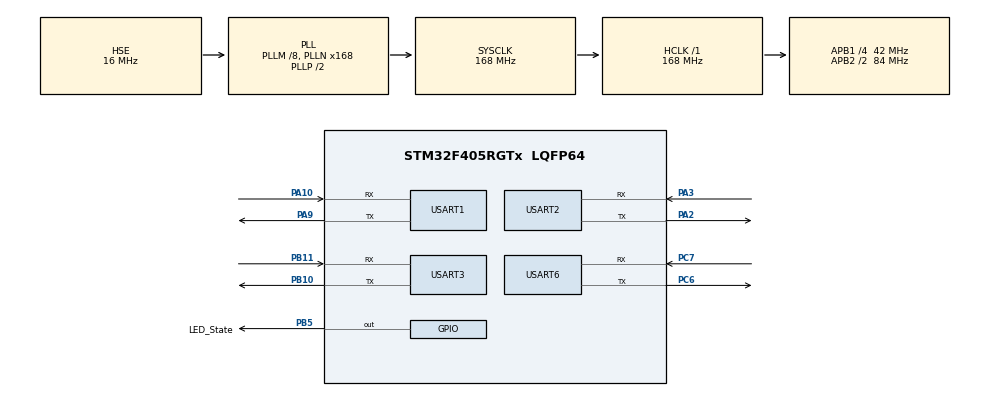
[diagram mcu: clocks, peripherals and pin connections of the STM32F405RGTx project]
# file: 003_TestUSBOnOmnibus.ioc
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Dma.Request0=USART1_TX
Dma.USART1_TX.0.Direction=DMA_MEMORY_TO_PERIPH
Dma.USART1_TX.0.FIFOMode=DMA_FIFOMODE_DISABLE
Dma.USART1_TX.0.Instance=DMA2_Stream7
Dma.USART1_TX.0.MemDataAlignment=DMA_MDATAALIGN_BYTE
Dma.USART1_TX.0.MemInc=DMA_MINC_ENABLE
Dma.USART1_TX.0.Mode=DMA_NORMAL
Dma.USART1_TX.0.PeriphDataAlignment=DMA_PDATAALIGN_BYTE
Dma.USART1_TX.0.PeriphInc=DMA_PINC_DISABLE
Dma.USART1_TX.0.Priority=DMA_PRIORITY_LOW
Mcu.Family=STM32F4
Mcu.Name=STM32F405RGTx
Mcu.Package=LQFP64
NVIC.DMA2_Stream7_IRQn=true\:0\:0\:false\:false\:true\:false\:true\:true
NVIC.PriorityGroup=NVIC_PRIORITYGROUP_4
NVIC.USART1_IRQn=true\:0\:0\:false\:false\:true\:true\:true\:true
PA10.Mode=Asynchronous
PA10.Signal=USART1_RX
PA13.Mode=Serial_Wire
PA13.Signal=SYS_JTMS-SWDIO
PA14.Mode=Serial_Wire
PA14.Signal=SYS_JTCK-SWCLK
PA2.Mode=Asynchronous
PA2.Signal=USART2_TX
PA3.Mode=Asynchronous
PA3.Signal=USART2_RX
PA9.Mode=Asynchronous
PA9.Signal=USART1_TX
PB10.Mode=Asynchronous
PB10.Signal=USART3_TX
PB11.Mode=Asynchronous
PB11.Signal=USART3_RX
PB5.GPIO_Label=LED_State
PB5.Signal=GPIO_Output
PC14-OSC32_IN.Mode=LSE-External-Oscillator
PC14-OSC32_IN.Signal=RCC_OSC32_IN
PC15-OSC32_OUT.Mode=LSE-External-Oscillator
PC15-OSC32_OUT.Signal=RCC_OSC32_OUT
PC6.Mode=Asynchronous
PC6.Signal=USART6_TX
PC7.Mode=Asynchronous
PC7.Signal=USART6_RX
PH0-OSC_IN.Mode=HSE-External-Oscillator
PH0-OSC_IN.Signal=RCC_OSC_IN
PH1-OSC_OUT.Mode=HSE-External-Oscillator
PH1-OSC_OUT.Signal=RCC_OSC_OUT
ProjectManager.HeapSize=0x200
ProjectManager.StackSize=0x400
ProjectManager.TargetToolchain=STM32CubeIDE
RCC.48MHZClocksFreq_Value=48000000
RCC.AHBFreq_Value=168000000
RCC.APB1CLKDivider=RCC_HCLK_DIV4
RCC.APB1Freq_Value=42000000
RCC.APB1TimFreq_Value=84000000
RCC.APB2CLKDivider=RCC_HCLK_DIV2
RCC.APB2Freq_Value=84000000
RCC.APB2TimFreq_Value=168000000
RCC.CortexFreq_Value=168000000
RCC.HCLKFreq_Value=168000000
RCC.HSE_VALUE=16000000
RCC.HSI_VALUE=16000000
RCC.PLLM=8
RCC.PLLN=168
RCC.PLLQ=7
RCC.PLLSourceVirtual=RCC_PLLSOURCE_HSE
RCC.SYSCLKFreq_VALUE=168000000
RCC.SYSCLKSource=RCC_SYSCLKSOURCE_PLLCLK
RCC.VCOOutputFreq_Value=336000000
USART1.VirtualMode=VM_ASYNC
USART2.VirtualMode=VM_ASYNC
USART3.VirtualMode=VM_ASYNC
USART6.VirtualMode=VM_ASYNC
board=custom

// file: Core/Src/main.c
/* USER CODE BEGIN Header */
/**
  ******************************************************************************
  * @file           : main.c
  * @brief          : Main program body
  ******************************************************************************
  * @attention
  *
  * Copyright (c) 2022 STMicroelectronics.
  * All rights reserved.
  *
  * This software is licensed under terms that can be found in the LICENSE file
  * in the root directory of this software component.
  * If no LICENSE file comes with this software, it is provided AS-IS.
  *
  ******************************************************************************
  */
/* USER CODE END Header */
#include "main.h"

/* USER CODE BEGIN Includes */
#include "usbd_cdc_if.h"
#include "string.h"
/* USER CODE END Includes */

UART_HandleTypeDef huart1;
UART_HandleTypeDef huart2;
UART_HandleTypeDef huart3;
UART_HandleTypeDef huart6;
DMA_HandleTypeDef hdma_usart1_tx;

void SystemClock_Config(void);
static void MX_GPIO_Init(void);
static void MX_DMA_Init(void);
static void MX_USART1_UART_Init(void);
static void MX_USART2_UART_Init(void);
static void MX_USART3_UART_Init(void);
static void MX_USART6_UART_Init(void);
/* USER CODE BEGIN PFP */
void LED_blink(uint32_t times);
/* USER CODE END PFP */

/* USER CODE BEGIN 0 */
void LED_blink(uint32_t times)
{
	HAL_GPIO_WritePin(LED_State_GPIO_Port, LED_State_Pin, GPIO_PIN_SET);
	for(int i = 0; i < times; i++){
		HAL_GPIO_TogglePin(LED_State_GPIO_Port, LED_State_Pin);
		HAL_Delay(300);
		HAL_GPIO_TogglePin(LED_State_GPIO_Port, LED_State_Pin);
		HAL_Delay(300);
	}
}
/* USER CODE END 0 */

int main(void)
{

  /* MCU Configuration--------------------------------------------------------*/

  /* Reset of all peripherals, Initializes the Flash interface and the Systick. */
  HAL_Init();

  /* Configure the system clock */
  SystemClock_Config();

  /* Initialize all configured peripherals */
  MX_GPIO_Init();
  MX_DMA_Init();
  MX_USART1_UART_Init();
  MX_USART2_UART_Init();
  MX_USART3_UART_Init();
  MX_USART6_UART_Init();

  /* Infinite loop */
  /* USER CODE BEGIN WHILE */
  while (1)
  {
	  char *Buf = "Hello\n";
	  uint8_t result = CDC_Transmit_FS((uint8_t *)Buf, strlen(Buf));
	  // OK else USBD_FAIL or USBD_BUSY
	  if(result == USBD_OK){
		  LED_blink(1);
	  }else if(result == USBD_FAIL){
		  LED_blink(2);
	  }else if (result == USBD_BUSY){
		  LED_blink(3);
	  }
	  HAL_Delay(3000);
    /* USER CODE END WHILE */

  }
}

void SystemClock_Config(void)
{
  RCC_OscInitTypeDef RCC_OscInitStruct = {0};
  RCC_ClkInitTypeDef RCC_ClkInitStruct = {0};

  /** Configure the main internal regulator output voltage
  */
  __HAL_RCC_PWR_CLK_ENABLE();
  __HAL_PWR_VOLTAGESCALING_CONFIG(PWR_REGULATOR_VOLTAGE_SCALE1);

  /** Initializes the RCC Oscillators according to the specified parameters
  * in the RCC_OscInitTypeDef structure.
  */
  RCC_OscInitStruct.OscillatorType = RCC_OSCILLATORTYPE_HSE;
  RCC_OscInitStruct.HSEState = RCC_HSE_ON;
  RCC_OscInitStruct.PLL.PLLState = RCC_PLL_ON;
  RCC_OscInitStruct.PLL.PLLSource = RCC_PLLSOURCE_HSE;
  RCC_OscInitStruct.PLL.PLLM = 8;
  RCC_OscInitStruct.PLL.PLLN = 168;
  RCC_OscInitStruct.PLL.PLLP = RCC_PLLP_DIV2;
  RCC_OscInitStruct.PLL.PLLQ = 7;
  if (HAL_RCC_OscConfig(&RCC_OscInitStruct) != HAL_OK)
  {
    Error_Handler();
  }

  /** Initializes the CPU, AHB and APB buses clocks
  */
  RCC_ClkInitStruct.ClockType = RCC_CLOCKTYPE_HCLK|RCC_CLOCKTYPE_SYSCLK
                              |RCC_CLOCKTYPE_PCLK1|RCC_CLOCKTYPE_PCLK2;
  RCC_ClkInitStruct.SYSCLKSource = RCC_SYSCLKSOURCE_PLLCLK;
  RCC_ClkInitStruct.AHBCLKDivider = RCC_SYSCLK_DIV1;
  RCC_ClkInitStruct.APB1CLKDivider = RCC_HCLK_DIV4;
  RCC_ClkInitStruct.APB2CLKDivider = RCC_HCLK_DIV2;

  if (HAL_RCC_ClockConfig(&RCC_ClkInitStruct, FLASH_LATENCY_5) != HAL_OK)
  {
    Error_Handler();
  }
}

static void MX_USART1_UART_Init(void)
{

  huart1.Instance = USART1;
  huart1.Init.BaudRate = 115200;
  huart1.Init.WordLength = UART_WORDLENGTH_8B;
  huart1.Init.StopBits = UART_STOPBITS_1;
  huart1.Init.Parity = UART_PARITY_NONE;
  huart1.Init.Mode = UART_MODE_TX_RX;
  huart1.Init.HwFlowCtl = UART_HWCONTROL_NONE;
  huart1.Init.OverSampling = UART_OVERSAMPLING_16;
  if (HAL_UART_Init(&huart1) != HAL_OK)
  {
    Error_Handler();
  }

}

static void MX_USART2_UART_Init(void)
{

  huart2.Instance = USART2;
  huart2.Init.BaudRate = 115200;
  huart2.Init.WordLength = UART_WORDLENGTH_8B;
  huart2.Init.StopBits = UART_STOPBITS_1;
  huart2.Init.Parity = UART_PARITY_NONE;
  huart2.Init.Mode = UART_MODE_TX_RX;
  huart2.Init.HwFlowCtl = UART_HWCONTROL_NONE;
  huart2.Init.OverSampling = UART_OVERSAMPLING_16;
  if (HAL_UART_Init(&huart2) != HAL_OK)
  {
    Error_Handler();
  }

}

static void MX_USART3_UART_Init(void)
{

  huart3.Instance = USART3;
  huart3.Init.BaudRate = 115200;
  huart3.Init.WordLength = UART_WORDLENGTH_8B;
  huart3.Init.StopBits = UART_STOPBITS_1;
  huart3.Init.Parity = UART_PARITY_NONE;
  huart3.Init.Mode = UART_MODE_TX_RX;
  huart3.Init.HwFlowCtl = UART_HWCONTROL_NONE;
  huart3.Init.OverSampling = UART_OVERSAMPLING_16;
  if (HAL_UART_Init(&huart3) != HAL_OK)
  {
    Error_Handler();
  }

}

static void MX_USART6_UART_Init(void)
{

  huart6.Instance = USART6;
  huart6.Init.BaudRate = 115200;
  huart6.Init.WordLength = UART_WORDLENGTH_8B;
  huart6.Init.StopBits = UART_STOPBITS_1;
  huart6.Init.Parity = UART_PARITY_NONE;
  huart6.Init.Mode = UART_MODE_TX_RX;
  huart6.Init.HwFlowCtl = UART_HWCONTROL_NONE;
  huart6.Init.OverSampling = UART_OVERSAMPLING_16;
  if (HAL_UART_Init(&huart6) != HAL_OK)
  {
    Error_Handler();
  }

}

static void MX_DMA_Init(void)
{

  /* DMA controller clock enable */
  __HAL_RCC_DMA2_CLK_ENABLE();

  /* DMA interrupt init */
  /* DMA2_Stream7_IRQn interrupt configuration */
  HAL_NVIC_SetPriority(DMA2_Stream7_IRQn, 0, 0);
  HAL_NVIC_EnableIRQ(DMA2_Stream7_IRQn);

}

static void MX_GPIO_Init(void)
{
  GPIO_InitTypeDef GPIO_InitStruct = {0};

  /* GPIO Ports Clock Enable */
  __HAL_RCC_GPIOC_CLK_ENABLE();
  __HAL_RCC_GPIOH_CLK_ENABLE();
  __HAL_RCC_GPIOA_CLK_ENABLE();
  __HAL_RCC_GPIOB_CLK_ENABLE();

  /*Configure GPIO pin Output Level */
  HAL_GPIO_WritePin(LED_State_GPIO_Port, LED_State_Pin, GPIO_PIN_RESET);

  /*Configure GPIO pin : LED_State_Pin */
  GPIO_InitStruct.Pin = LED_State_Pin;
  GPIO_InitStruct.Mode = GPIO_MODE_OUTPUT_PP;
  GPIO_InitStruct.Pull = GPIO_NOPULL;
  GPIO_InitStruct.Speed = GPIO_SPEED_FREQ_LOW;
  HAL_GPIO_Init(LED_State_GPIO_Port, &GPIO_InitStruct);

}

void Error_Handler(void)
{
  __disable_irq();
  while (1)
  {
  }
}
